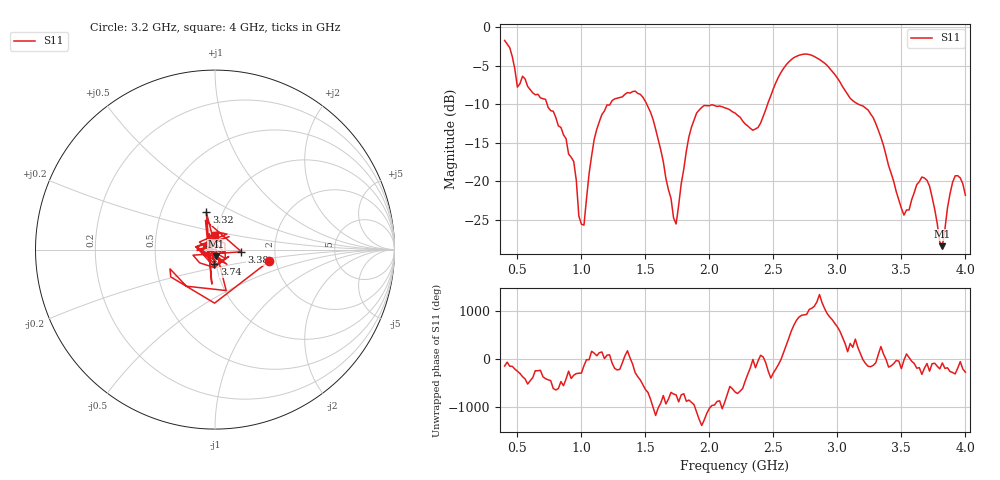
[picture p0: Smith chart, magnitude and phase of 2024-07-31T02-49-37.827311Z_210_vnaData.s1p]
!Created with skrf (http://scikit-rf.org).
# Hz S RI R 50.0
!freq ReS11 ImS11
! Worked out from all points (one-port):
!   181 points, 400 MHz to 4 GHz, reference 50 ohm
!   lowest |S11| = -28.4 dB at 3.82 GHz (marker M1), VSWR 1.08, Z = 50.7 - j3.78 ohm
!   |S11| at or under -10 dB: 732 MHz to 1.224 GHz (492 MHz wide, 50.3 % of centre); 1.511 GHz to 2.455 GHz (944.1 MHz wide, 47.6 % of centre); 3.163 GHz to end of sweep
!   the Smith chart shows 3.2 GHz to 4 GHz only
!   S11 on the Smith chart (normalised r, x): 3.2 GHz: 1.84, -0.26; 3.32 GHz: 0.84, +0.37; 3.38 GHz: 1.34, -0.03; 3.74 GHz: 0.98, -0.16; 4 GHz: 0.99, +0.16
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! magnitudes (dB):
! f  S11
! 400 MHz  -1.8
! 500 MHz  -7.8
! 720 MHz  -9.4
! 860 MHz  -14.0
! 940 MHz  -17.4
! 980 MHz  -24.5
! 1.02 GHz  -25.7
! 1.12 GHz  -13.3
! 1.3 GHz  -9.1
! 1.5 GHz  -9.6
! 1.72 GHz  -24.7
! 1.76 GHz  -23.1
! 1.9 GHz  -11.2
! 2.2 GHz  -11.1
! 2.38 GHz  -13.0
! 2.66 GHz  -4.0
! 2.88 GHz  -4.4
! 3.1 GHz  -9.2
! 3.2 GHz  -10.2
! 3.32 GHz  -13.4
! 3.38 GHz  -16.6
! 3.52 GHz  -24.4
! 3.56 GHz  -23.7
! 3.66 GHz  -19.4
! 3.74 GHz  -22.0
! 3.82 GHz  -28.4
! 3.92 GHz  -19.3
! 4 GHz  -21.8
